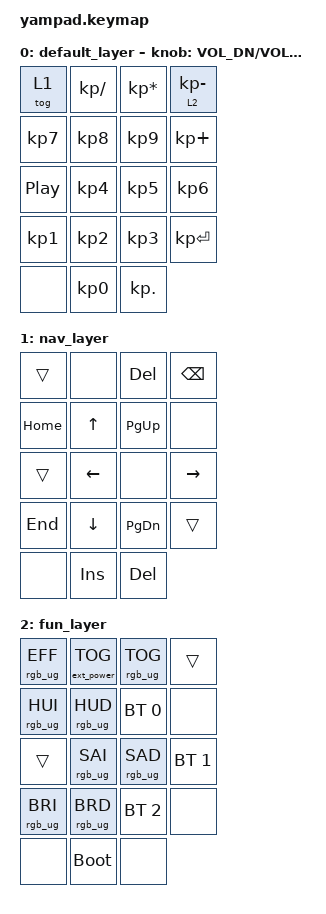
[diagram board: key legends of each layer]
/*
 * Copyright (c) 2020 The ZMK Contributors
 *
 * SPDX-License-Identifier: MIT
 */

#include <behaviors.dtsi>
#include <dt-bindings/zmk/keys.h>
#include <dt-bindings/zmk/bt.h>
#include <dt-bindings/zmk/rgb.h>
#include <dt-bindings/zmk/ext_power.h>

/ {
    keymap {
        compatible = "zmk,keymap";

        default_layer {

            bindings = <
              &tog 1     &kp KP_SLASH  &kp KP_MULTIPLY  &lt 2 KP_MINUS
              &kp KP_N7  &kp KP_N8     &kp KP_N9        &kp KP_PLUS
    &kp C_PP  &kp KP_N4  &kp KP_N5     &kp KP_N6
              &kp KP_N1  &kp KP_N2     &kp KP_N3        &kp KP_ENTER
              &none      &kp KP_N0     &kp KP_DOT
            >;
            sensor-bindings = <&inc_dec_kp C_VOL_DN C_VOL_UP>;
        };

        nav_layer {
            bindings = <
              &trans     &none         &kp DEL          &kp BSPC
              &kp HOME   &kp UP        &kp PAGE_UP      &none
    &trans    &kp LEFT   &none         &kp RIGHT
              &kp END    &kp DOWN      &kp PAGE_DOWN    &trans
              &none      &kp INSERT    &kp DEL
            >;
        };

        fun_layer {
            bindings = <
              &rgb_ug RGB_EFF  &ext_power EP_TOG  &rgb_ug RGB_TOG  &trans
              &rgb_ug RGB_HUI  &rgb_ug RGB_HUD    &bt BT_SEL 0     &none
    &trans    &rgb_ug RGB_SAI  &rgb_ug RGB_SAD    &bt BT_SEL 1
              &rgb_ug RGB_BRI  &rgb_ug RGB_BRD    &bt BT_SEL 2     &none
              &none            &bootloader        &none
            >;
        };
    };
};
